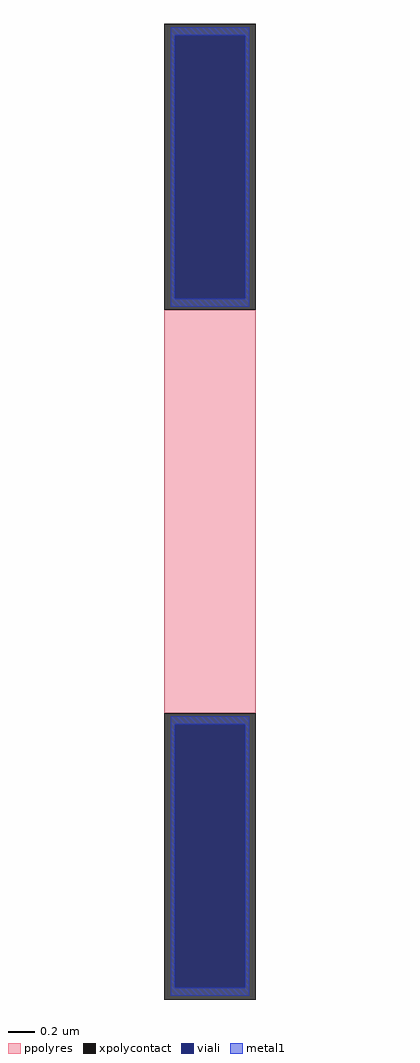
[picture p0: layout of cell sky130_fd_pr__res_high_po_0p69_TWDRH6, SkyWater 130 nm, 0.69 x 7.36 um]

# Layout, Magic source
magic
tech sky130A
magscale 1 2
<< xpolycontact >>
rect -69 304 69 736
rect -69 -736 69 -304
<< ppolyres >>
rect -69 -304 69 304
<< viali >>
rect -53 321 53 718
rect -53 -718 53 -321
<< metal1 >>
rect -59 718 59 730
rect -59 321 -53 718
rect 53 321 59 718
rect -59 309 59 321
rect -59 -321 59 -309
rect -59 -718 -53 -321
rect 53 -718 59 -321
rect -59 -730 59 -718
<< properties >>
string gencell sky130_fd_pr__res_high_po_0p69
string library sky130
string parameters w 0.69 l 3.20 m 1 nx 1 wmin 0.690 lmin 0.50 rho 319.8 val 2.047k dummy 0 dw 0.0 term 194.82 sterm 0.0 caplen 0 guard 0 glc 1 grc 1 gtc 1 gbc 1 compatible {sky130_fd_pr__res_high_po_0p35  sky130_fd_pr__res_high_po_0p69 sky130_fd_pr__res_high_po_1p41  sky130_fd_pr__res_high_po_2p85 sky130_fd_pr__res_high_po_5p73} snake 0 full_metal 1 wmax 0.690 n_guard 0 hv_guard 0 vias 1 viagb 0 viagt 0 viagl 0 viagr 0
<< end >>
